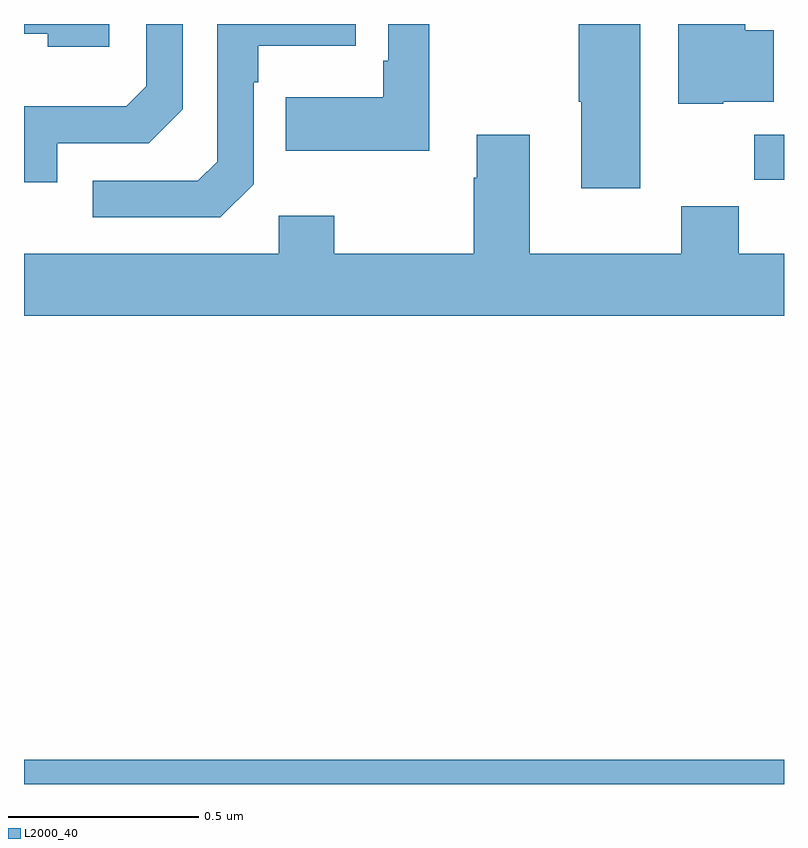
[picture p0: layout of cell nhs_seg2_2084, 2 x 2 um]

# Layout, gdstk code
import gdstk
lib = gdstk.Library(unit=1e-6, precision=1e-09)
def R(c, l, rs):  # rectangles x0, y0, x1, y1
    for r in rs: c.add(gdstk.rectangle(r[:2], r[2:], *l))
def P(c, l, *ps):  # polygons
    for p in ps: c.add(gdstk.Polygon(p, *l))
L2000_40 = (2000, 40)

nhs_seg2_2084 = lib.new_cell('nhs_seg2_2084')
R(nhs_seg2_2084, L2000_40, [(137,583.8,139,583.864), (138.922,585.39,139,585.508)])
P(nhs_seg2_2084, L2000_40, [(138.622,585.8),(138.46,585.8),(138.46,585.595),(138.467,585.595),(138.467,585.368),(138.622,585.368)],
  [(138.067,585.8),(137.958,585.8),(137.958,585.703),(137.946,585.703),(137.946,585.607),(137.689,585.607),(137.689,585.467),(138.067,585.467)],
  [(137.604,585.378),(137.604,585.647),(137.617,585.647),(137.617,585.743),(137.873,585.743),(137.873,585.8),(137.508,585.8),(137.508,585.438),(137.457,585.387),(137.181,585.387),(137.181,585.291),(137.517,585.291)],
  [(138.84,585.596),(138.973,585.596),(138.973,585.784),(138.898,585.784),(138.898,585.8),(138.722,585.8),(138.722,585.59),(138.84,585.59)],
  [(137.088,585.486),(137.328,585.486),(137.418,585.576),(137.418,585.8),(137.322,585.8),(137.322,585.636),(137.269,585.583),(137,585.583),(137,585.384),(137.088,585.384)],
  [(137.224,585.8),(137,585.8),(137,585.774),(137.063,585.774),(137.063,585.74),(137.224,585.74)],
  [(139,585.196),(138.881,585.196),(138.881,585.32),(138.73,585.32),(138.73,585.196),(138.331,585.196),(138.331,585.508),(138.191,585.508),(138.191,585.395),(138.184,585.395),(138.184,585.196),(137.817,585.196),(137.817,585.295),(137.67,585.295),(137.67,585.196),(137,585.196),(137,585.032),(139,585.032)])

lib.write_gds('nhs_seg2_2084.gds')
